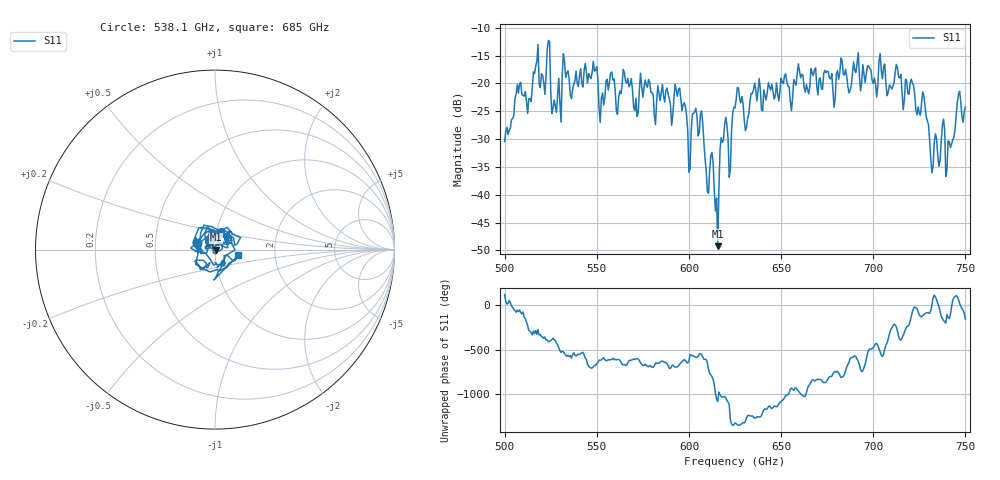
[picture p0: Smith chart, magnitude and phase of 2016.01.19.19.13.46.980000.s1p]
!Created with skrf (http://scikit-rf.org).
# GHz S RI R 50.0
!freq ReS11 ImS11
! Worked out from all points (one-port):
!   401 points, 500 GHz to 750 GHz, reference 50 ohm
!   lowest |S11| = -49.2 dB at 615.6 GHz (marker M1), VSWR 1.01, Z = 50.3 - j0.0139 ohm
!   |S11| at or under -10 dB: start of sweep to end of sweep
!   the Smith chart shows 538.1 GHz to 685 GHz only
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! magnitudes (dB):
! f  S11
! 500 GHz  -30.4
! 507.5 GHz  -21.7
! 513.8 GHz  -22.7
! 516.9 GHz  -16.9
! 520.6 GHz  -18.6
! 523.8 GHz  -12.3
! 526.9 GHz  -23.0
! 531.2 GHz  -18.7
! 548.8 GHz  -17.8
! 552.5 GHz  -22.6
! 558.1 GHz  -17.9
! 562.5 GHz  -21.4
! 593.8 GHz  -22.3
! 600 GHz  -36.0
! 603.1 GHz  -25.1
! 606.9 GHz  -24.9
! 610 GHz  -39.4
! 615.6 GHz  -49.2
! 618.8 GHz  -30.2
! 622.5 GHz  -35.4
! 625 GHz  -24.4
! 656.2 GHz  -22.6
! 687.5 GHz  -21.2
! 690.6 GHz  -18.0
! 718.8 GHz  -21.8
! 727.5 GHz  -22.3
! 731.9 GHz  -36.1
! 750 GHz  -24.2
